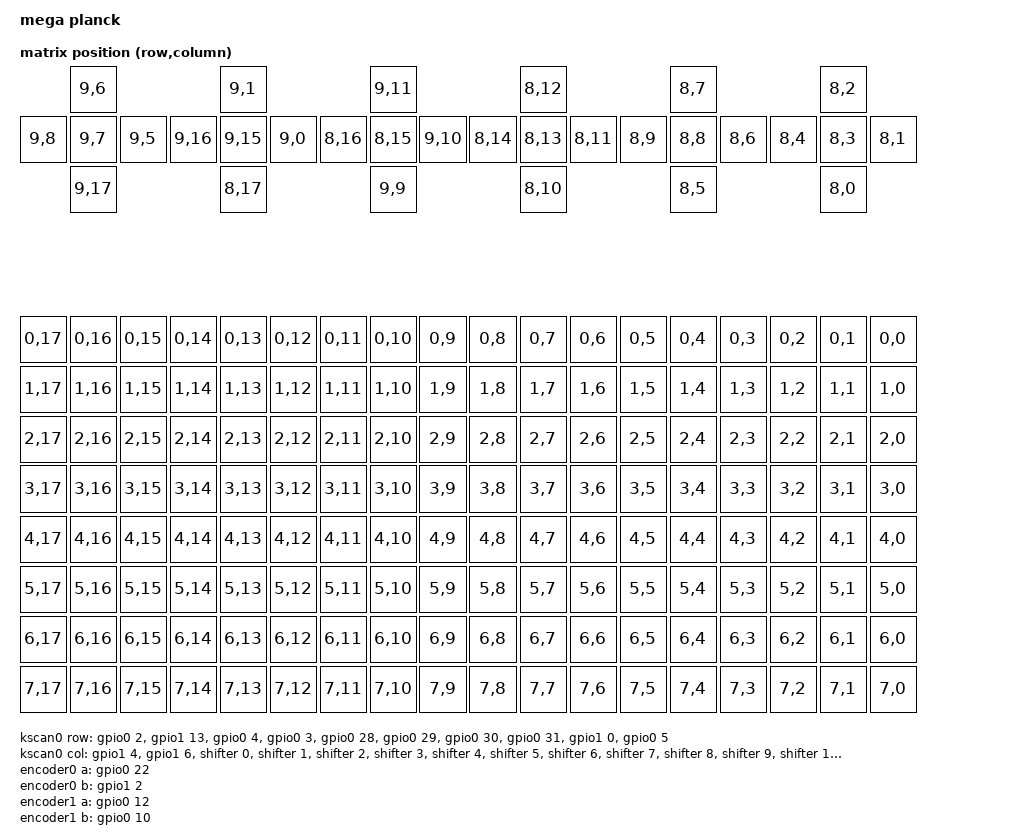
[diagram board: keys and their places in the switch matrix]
/*
 * Copyright (c) 2020 Pete Johanson, Ryan Cross
 *
 * SPDX-License-Identifier: MIT
 */

/dts-v1/;
#include <nordic/nrf52840_qiaa.dtsi>
#include <dt-bindings/gpio/gpio.h>
#include <dt-bindings/zmk/matrix_transform.h>
#include <physical_layouts.dtsi>

&pinctrl {
    spi0_default: spi0_default {
				group1 {
						psels = <NRF_PSEL(SPIM_MOSI, 0, 13)>,
						<NRF_PSEL(SPIM_SCK, 0, 15)>;
				};
		};
	
    spi0_sleep: spi0_sleep {
				group1 {
						psels = <NRF_PSEL(SPIM_MOSI, 0, 13)>,
						 <NRF_PSEL(SPIM_SCK, 0, 15)>;
						low-power-enable;
				};
		};
		qdec5_default: qdec5_default {
        group1 {
            psels = <NRF_PSEL(QDEC_A, 1, 9)>,
                    <NRF_PSEL(QDEC_B, 0, 8)>;
        };
    };
		qdec5_sleep: qdec5_sleep {
        group1 {
            psels = <NRF_PSEL(QDEC_A, 1, 9)>,
                    <NRF_PSEL(QDEC_B, 0, 8)>;
						low-power-enable;
        };
    };
		qdec6_default: qdec6_default {
        group1 {
            psels = <NRF_PSEL(QDEC_A, 0, 6)>,
                    <NRF_PSEL(QDEC_B, 1, 11)>;
        };
    };
};
encoder5: &qdec0 {
		status = "okay";
		led-pre = <0>;
		steps = <80>;
		pinctrl-0 = <&qdec5_default>;
		pinctrl-1 = <&qdec5_sleep>;
		pinctrl-names = "default","sleep";
};

nice_view_spi: &spi0 {
    compatible = "nordic,nrf-spim";
    pinctrl-0 = <&spi0_default>;
    pinctrl-1 = <&spi0_sleep>;
    pinctrl-names = "default", "sleep";
    cs-gpios = <&gpio0 20 GPIO_ACTIVE_HIGH>,<&gpio0 17 GPIO_ACTIVE_LOW>;
    status= "okay";
    shifter: 595@1 {
      compatible = "zmk,gpio-595";
      status="okay";
      reg = <1>;
      gpio-controller;
      spi-max-frequency= <400000>;
      #gpio-cells = <2>;
      ngpios = <16>;
  };
};

/ {
    chosen {
        zmk,physical_layout = &physical_layout;
    };
    default_transform: keymap_transform_0 {
        compatible = "zmk,matrix-transform";
        columns = <18>;
        rows = <10>;
        map = <
          RC(0,0) RC(0,1) RC(0,2) RC(0,3) RC(0,4) RC(0,5) RC(0,6) RC(0,7) RC(0,8) RC(0,9) RC(0,10) RC(0,11) RC(0,12) RC(0,13) RC(0,14) RC(0,15) RC(0,16) RC(0,17)
          RC(1,0) RC(1,1) RC(1,2) RC(1,3) RC(1,4) RC(1,5) RC(1,6) RC(1,7) RC(1,8) RC(1,9) RC(1,10) RC(1,11) RC(1,12) RC(1,13) RC(1,14) RC(1,15) RC(1,16) RC(1,17)
          RC(2,0) RC(2,1) RC(2,2) RC(2,3) RC(2,4) RC(2,5) RC(2,6) RC(2,7) RC(2,8) RC(2,9) RC(2,10) RC(2,11) RC(2,12) RC(2,13) RC(2,14) RC(2,15) RC(2,16) RC(2,17)
          RC(3,0) RC(3,1) RC(3,2) RC(3,3) RC(3,4) RC(3,5) RC(3,6) RC(3,7) RC(3,8) RC(3,9) RC(3,10) RC(3,11) RC(3,12) RC(3,13) RC(3,14) RC(3,15) RC(3,16) RC(3,17)
          RC(4,0) RC(4,1) RC(4,2) RC(4,3) RC(4,4) RC(4,5) RC(4,6) RC(4,7) RC(4,8) RC(4,9) RC(4,10) RC(4,11) RC(4,12) RC(4,13) RC(4,14) RC(4,15) RC(4,16) RC(4,17)
          RC(5,0) RC(5,1) RC(5,2) RC(5,3) RC(5,4) RC(5,5) RC(5,6) RC(5,7) RC(5,8) RC(5,9) RC(5,10) RC(5,11) RC(5,12) RC(5,13) RC(5,14) RC(5,15) RC(5,16) RC(5,17)
          RC(6,0) RC(6,1) RC(6,2) RC(6,3) RC(6,4) RC(6,5) RC(6,6) RC(6,7) RC(6,8) RC(6,9) RC(6,10) RC(6,11) RC(6,12) RC(6,13) RC(6,14) RC(6,15) RC(6,16) RC(6,17)
          RC(7,0) RC(7,1) RC(7,2) RC(7,3) RC(7,4) RC(7,5) RC(7,6) RC(7,7) RC(7,8) RC(7,9) RC(7,10) RC(7,11) RC(7,12) RC(7,13) RC(7,14) RC(7,15) RC(7,16) RC(7,17)
          RC(8,0) RC(8,1) RC(8,2) RC(8,3) RC(8,4) RC(8,5) RC(8,6) RC(8,7) RC(8,8) RC(8,9) RC(8,10) RC(8,11) RC(8,12) RC(8,13) RC(8,14) RC(8,15) RC(8,16) RC(8,17)
          RC(9,0) RC(9,1) RC(9,15) RC(9,16) RC(9,17) RC(9,5) RC(9,6) RC(9,7) RC(9,8) RC(9,9) RC(9,10) RC(9,11)
        >;
    };

    kscan0: kscan {
        compatible = "zmk,kscan-gpio-matrix";
        wakeup-source;

        diode-direction = "col2row";
        col-gpios
            = <&gpio1 4 (GPIO_ACTIVE_HIGH | GPIO_PULL_DOWN)>
            , <&gpio1 6 (GPIO_ACTIVE_HIGH | GPIO_PULL_DOWN)>
            , <&shifter 0 GPIO_ACTIVE_HIGH>
            , <&shifter 1 GPIO_ACTIVE_HIGH>
            , <&shifter 2 GPIO_ACTIVE_HIGH>
            , <&shifter 3 GPIO_ACTIVE_HIGH>
            , <&shifter 4 GPIO_ACTIVE_HIGH>
            , <&shifter 5 GPIO_ACTIVE_HIGH>
            , <&shifter 6 GPIO_ACTIVE_HIGH>
            , <&shifter 7 GPIO_ACTIVE_HIGH>
            , <&shifter 8 GPIO_ACTIVE_HIGH>
            , <&shifter 9 GPIO_ACTIVE_HIGH>
            , <&shifter 10 GPIO_ACTIVE_HIGH>
            , <&shifter 11 GPIO_ACTIVE_HIGH>
            , <&shifter 12 GPIO_ACTIVE_HIGH>
            , <&shifter 13 GPIO_ACTIVE_HIGH>
            , <&shifter 14 GPIO_ACTIVE_HIGH>
            , <&shifter 15 GPIO_ACTIVE_HIGH>
            ;
        row-gpios
            = <&gpio0 2 (GPIO_ACTIVE_HIGH | GPIO_PULL_DOWN)>
            , <&gpio1 13 (GPIO_ACTIVE_HIGH | GPIO_PULL_DOWN)>
            , <&gpio0 4 (GPIO_ACTIVE_HIGH | GPIO_PULL_DOWN)>
            , <&gpio0 3 (GPIO_ACTIVE_HIGH | GPIO_PULL_DOWN)>
            , <&gpio0 28 (GPIO_ACTIVE_HIGH | GPIO_PULL_DOWN)>
            , <&gpio0 29 (GPIO_ACTIVE_HIGH | GPIO_PULL_DOWN)>
            , <&gpio0 30 (GPIO_ACTIVE_HIGH | GPIO_PULL_DOWN)>
            , <&gpio0 31 (GPIO_ACTIVE_HIGH | GPIO_PULL_DOWN)>
            , <&gpio1 0 (GPIO_ACTIVE_HIGH | GPIO_PULL_DOWN)>
            , <&gpio0 5 (GPIO_ACTIVE_HIGH | GPIO_PULL_DOWN)>
            ;
    };
		physical_layout:matirx {
			compatible = "zmk,physical-layout";
			display-name = "matrix layout";
			kscan = <&kscan0>;
			transform = <&default_transform>;
	 keys  //                     w   h    x    y     rot    rx    ry
            = <&key_physical_attrs 100 100 1700  500       0     0     0>
            , <&key_physical_attrs 100 100 1600  500       0     0     0>
            , <&key_physical_attrs 100 100 1500  500       0     0     0>
            , <&key_physical_attrs 100 100 1400  500       0     0     0>
            , <&key_physical_attrs 100 100 1300  500       0     0     0>
            , <&key_physical_attrs 100 100 1200  500       0     0     0>
            , <&key_physical_attrs 100 100 1100  500       0     0     0>
            , <&key_physical_attrs 100 100 1000  500       0     0     0>
            , <&key_physical_attrs 100 100  900  500       0     0     0>
            , <&key_physical_attrs 100 100  800  500       0     0     0>
            , <&key_physical_attrs 100 100  700  500       0     0     0>
            , <&key_physical_attrs 100 100  600  500       0     0     0>
            , <&key_physical_attrs 100 100  500  500       0     0     0>
            , <&key_physical_attrs 100 100  400  500       0     0     0>
            , <&key_physical_attrs 100 100  300  500       0     0     0>
            , <&key_physical_attrs 100 100  200  500       0     0     0>
            , <&key_physical_attrs 100 100  100  500       0     0     0>
            , <&key_physical_attrs 100 100    0  500       0     0     0>
            , <&key_physical_attrs 100 100 1700  600       0     0     0>
            , <&key_physical_attrs 100 100 1600  600       0     0     0>
            , <&key_physical_attrs 100 100 1500  600       0     0     0>
            , <&key_physical_attrs 100 100 1400  600       0     0     0>
            , <&key_physical_attrs 100 100 1300  600       0     0     0>
            , <&key_physical_attrs 100 100 1200  600       0     0     0>
            , <&key_physical_attrs 100 100 1100  600       0     0     0>
            , <&key_physical_attrs 100 100 1000  600       0     0     0>
            , <&key_physical_attrs 100 100  900  600       0     0     0>
            , <&key_physical_attrs 100 100  800  600       0     0     0>
            , <&key_physical_attrs 100 100  700  600       0     0     0>
            , <&key_physical_attrs 100 100  600  600       0     0     0>
            , <&key_physical_attrs 100 100  500  600       0     0     0>
            , <&key_physical_attrs 100 100  400  600       0     0     0>
            , <&key_physical_attrs 100 100  300  600       0     0     0>
            , <&key_physical_attrs 100 100  200  600       0     0     0>
            , <&key_physical_attrs 100 100  100  600       0     0     0>
            , <&key_physical_attrs 100 100    0  600       0     0     0>
            , <&key_physical_attrs 100 100 1700  700       0     0     0>
            , <&key_physical_attrs 100 100 1600  700       0     0     0>
            , <&key_physical_attrs 100 100 1500  700       0     0     0>
            , <&key_physical_attrs 100 100 1400  700       0     0     0>
            , <&key_physical_attrs 100 100 1300  700       0     0     0>
            , <&key_physical_attrs 100 100 1200  700       0     0     0>
            , <&key_physical_attrs 100 100 1100  700       0     0     0>
            , <&key_physical_attrs 100 100 1000  700       0     0     0>
            , <&key_physical_attrs 100 100  900  700       0     0     0>
            , <&key_physical_attrs 100 100  800  700       0     0     0>
            , <&key_physical_attrs 100 100  700  700       0     0     0>
            , <&key_physical_attrs 100 100  600  700       0     0     0>
            , <&key_physical_attrs 100 100  500  700       0     0     0>
            , <&key_physical_attrs 100 100  400  700       0     0     0>
            , <&key_physical_attrs 100 100  300  700       0     0     0>
            , <&key_physical_attrs 100 100  200  700       0     0     0>
            , <&key_physical_attrs 100 100  100  700       0     0     0>
            , <&key_physical_attrs 100 100    0  700       0     0     0>
            , <&key_physical_attrs 100 100 1700  800       0     0     0>
            , <&key_physical_attrs 100 100 1600  800       0     0     0>
            , <&key_physical_attrs 100 100 1500  800       0     0     0>
            , <&key_physical_attrs 100 100 1400  800       0     0     0>
            , <&key_physical_attrs 100 100 1300  800       0     0     0>
            , <&key_physical_attrs 100 100 1200  800       0     0     0>
            , <&key_physical_attrs 100 100 1100  800       0     0     0>
            , <&key_physical_attrs 100 100 1000  800       0     0     0>
            , <&key_physical_attrs 100 100  900  800       0     0     0>
            , <&key_physical_attrs 100 100  800  800       0     0     0>
            , <&key_physical_attrs 100 100  700  800       0     0     0>
            , <&key_physical_attrs 100 100  600  800       0     0     0>
            , <&key_physical_attrs 100 100  500  800       0     0     0>
            , <&key_physical_attrs 100 100  400  800       0     0     0>
            , <&key_physical_attrs 100 100  300  800       0     0     0>
            , <&key_physical_attrs 100 100  200  800       0     0     0>
            , <&key_physical_attrs 100 100  100  800       0     0     0>
            , <&key_physical_attrs 100 100    0  800       0     0     0>
            , <&key_physical_attrs 100 100 1700  900       0     0     0>
            , <&key_physical_attrs 100 100 1600  900       0     0     0>
            , <&key_physical_attrs 100 100 1500  900       0     0     0>
            , <&key_physical_attrs 100 100 1400  900       0     0     0>
            , <&key_physical_attrs 100 100 1300  900       0     0     0>
            , <&key_physical_attrs 100 100 1200  900       0     0     0>
            , <&key_physical_attrs 100 100 1100  900       0     0     0>
            , <&key_physical_attrs 100 100 1000  900       0     0     0>
            , <&key_physical_attrs 100 100  900  900       0     0     0>
            , <&key_physical_attrs 100 100  800  900       0     0     0>
            , <&key_physical_attrs 100 100  700  900       0     0     0>
            , <&key_physical_attrs 100 100  600  900       0     0     0>
            , <&key_physical_attrs 100 100  500  900       0     0     0>
            , <&key_physical_attrs 100 100  400  900       0     0     0>
            , <&key_physical_attrs 100 100  300  900       0     0     0>
            , <&key_physical_attrs 100 100  200  900       0     0     0>
            , <&key_physical_attrs 100 100  100  900       0     0     0>
            , <&key_physical_attrs 100 100    0  900       0     0     0>
            , <&key_physical_attrs 100 100 1700 1000       0     0     0>
            , <&key_physical_attrs 100 100 1600 1000       0     0     0>
            , <&key_physical_attrs 100 100 1500 1000       0     0     0>
            , <&key_physical_attrs 100 100 1400 1000       0     0     0>
            , <&key_physical_attrs 100 100 1300 1000       0     0     0>
            , <&key_physical_attrs 100 100 1200 1000       0     0     0>
            , <&key_physical_attrs 100 100 1100 1000       0     0     0>
            , <&key_physical_attrs 100 100 1000 1000       0     0     0>
            , <&key_physical_attrs 100 100  900 1000       0     0     0>
            , <&key_physical_attrs 100 100  800 1000       0     0     0>
            , <&key_physical_attrs 100 100  700 1000       0     0     0>
            , <&key_physical_attrs 100 100  600 1000       0     0     0>
            , <&key_physical_attrs 100 100  500 1000       0     0     0>
            , <&key_physical_attrs 100 100  400 1000       0     0     0>
            , <&key_physical_attrs 100 100  300 1000       0     0     0>
            , <&key_physical_attrs 100 100  200 1000       0     0     0>
            , <&key_physical_attrs 100 100  100 1000       0     0     0>
            , <&key_physical_attrs 100 100    0 1000       0     0     0>
            , <&key_physical_attrs 100 100 1700 1100       0     0     0>
            , <&key_physical_attrs 100 100 1600 1100       0     0     0>
            , <&key_physical_attrs 100 100 1500 1100       0     0     0>
            , <&key_physical_attrs 100 100 1400 1100       0     0     0>
            , <&key_physical_attrs 100 100 1300 1100       0     0     0>
            , <&key_physical_attrs 100 100 1200 1100       0     0     0>
            , <&key_physical_attrs 100 100 1100 1100       0     0     0>
            , <&key_physical_attrs 100 100 1000 1100       0     0     0>
            , <&key_physical_attrs 100 100  900 1100       0     0     0>
            , <&key_physical_attrs 100 100  800 1100       0     0     0>
            , <&key_physical_attrs 100 100  700 1100       0     0     0>
            , <&key_physical_attrs 100 100  600 1100       0     0     0>
            , <&key_physical_attrs 100 100  500 1100       0     0     0>
            , <&key_physical_attrs 100 100  400 1100       0     0     0>
            , <&key_physical_attrs 100 100  300 1100       0     0     0>
            , <&key_physical_attrs 100 100  200 1100       0     0     0>
            , <&key_physical_attrs 100 100  100 1100       0     0     0>
            , <&key_physical_attrs 100 100    0 1100       0     0     0>
            , <&key_physical_attrs 100 100 1700 1200       0     0     0>
            , <&key_physical_attrs 100 100 1600 1200       0     0     0>
            , <&key_physical_attrs 100 100 1500 1200       0     0     0>
            , <&key_physical_attrs 100 100 1400 1200       0     0     0>
            , <&key_physical_attrs 100 100 1300 1200       0     0     0>
            , <&key_physical_attrs 100 100 1200 1200       0     0     0>
            , <&key_physical_attrs 100 100 1100 1200       0     0     0>
            , <&key_physical_attrs 100 100 1000 1200       0     0     0>
            , <&key_physical_attrs 100 100  900 1200       0     0     0>
            , <&key_physical_attrs 100 100  800 1200       0     0     0>
            , <&key_physical_attrs 100 100  700 1200       0     0     0>
            , <&key_physical_attrs 100 100  600 1200       0     0     0>
            , <&key_physical_attrs 100 100  500 1200       0     0     0>
            , <&key_physical_attrs 100 100  400 1200       0     0     0>
            , <&key_physical_attrs 100 100  300 1200       0     0     0>
            , <&key_physical_attrs 100 100  200 1200       0     0     0>
            , <&key_physical_attrs 100 100  100 1200       0     0     0>
            , <&key_physical_attrs 100 100    0 1200       0     0     0>
            , <&key_physical_attrs 100 100 1600  200       0     0     0>
            , <&key_physical_attrs 100 100 1700  100       0     0     0>
            , <&key_physical_attrs 100 100 1600    0       0     0     0>
            , <&key_physical_attrs 100 100 1600  100       0     0     0>
            , <&key_physical_attrs 100 100 1500  100       0     0     0>
            , <&key_physical_attrs 100 100 1300  200       0     0     0>
            , <&key_physical_attrs 100 100 1400  100       0     0     0>
            , <&key_physical_attrs 100 100 1300    0       0     0     0>
            , <&key_physical_attrs 100 100 1300  100       0     0     0>
            , <&key_physical_attrs 100 100 1200  100       0     0     0>
            , <&key_physical_attrs 100 100 1000  200       0     0     0>
            , <&key_physical_attrs 100 100 1100  100       0     0     0>
            , <&key_physical_attrs 100 100 1000    0       0     0     0>
            , <&key_physical_attrs 100 100 1000  100       0     0     0>
            , <&key_physical_attrs 100 100  900  100       0     0     0>
            , <&key_physical_attrs 100 100  700  100       0     0     0>
            , <&key_physical_attrs 100 100  600  100       0     0     0>
            , <&key_physical_attrs 100 100  400  200       0     0     0>
            , <&key_physical_attrs 100 100  500  100       0     0     0>
            , <&key_physical_attrs 100 100  400    0       0     0     0>
            , <&key_physical_attrs 100 100  400  100       0     0     0>
            , <&key_physical_attrs 100 100  300  100       0     0     0>
            , <&key_physical_attrs 100 100  100  200       0     0     0>
            , <&key_physical_attrs 100 100  200  100       0     0     0>
            , <&key_physical_attrs 100 100  100    0       0     0     0>
            , <&key_physical_attrs 100 100  100  100       0     0     0>
            , <&key_physical_attrs 100 100    0  100       0     0     0>
            , <&key_physical_attrs 100 100  700  200       0     0     0>
            , <&key_physical_attrs 100 100  800  100       0     0     0>
            , <&key_physical_attrs 100 100  700    0       0     0     0>
            ;
		};
    encoder0: encoder0 {
        compatible = "alps,ec11";
        a-gpios = <&gpio0 22 (GPIO_ACTIVE_HIGH | GPIO_OPEN_DRAIN)>;
        b-gpios = <&gpio1 2 (GPIO_ACTIVE_HIGH | GPIO_OPEN_DRAIN)>;
        steps = <15>;
        status = "okay";
    };
    encoder1: encoder1 {
        compatible = "alps,ec11";
        a-gpios = <&gpio0 12 (GPIO_ACTIVE_HIGH | GPIO_OPEN_DRAIN)>;
        b-gpios = <&gpio0 10 (GPIO_ACTIVE_HIGH | GPIO_OPEN_DRAIN)>;
        steps = <15>;
        status = "okay";
    };
    encoder2: encoder2 {
        compatible = "alps,ec11";
        a-gpios = <&gpio0 26 (GPIO_ACTIVE_HIGH | GPIO_OPEN_DRAIN)>;
        b-gpios = <&gpio0 9 (GPIO_ACTIVE_HIGH | GPIO_OPEN_DRAIN)>;
        steps = <15>;
        status = "okay";
    };
    encoder3: encoder3 {
        compatible = "alps,ec11";
        a-gpios = <&gpio0 7 (GPIO_ACTIVE_HIGH |GPIO_OPEN_DRAIN)>;
        b-gpios = <&gpio0 24 (GPIO_ACTIVE_HIGH |GPIO_OPEN_DRAIN)>;
        steps = <15>;
        status = "okay";
    };
    encoder4: encoder4 {
        compatible = "alps,ec11";
        a-gpios = <&gpio1 9 (GPIO_ACTIVE_HIGH | GPIO_OPEN_DRAIN )>;
        b-gpios = <&gpio0 8 (GPIO_ACTIVE_HIGH | GPIO_OPEN_DRAIN )>;
        steps = <15>;
        status = "okay";
    };
    // encoder5: encoder5 {
    //     compatible = "alps,ec11";
    //     a-gpios = <&gpio0 6 (GPIO_ACTIVE_HIGH | GPIO_OPEN_DRAIN )>;
    //     b-gpios = <&gpio1 11 (GPIO_ACTIVE_HIGH |GPIO_OPEN_DRAIN )>;
    //     steps = <15>;
    //     status = "okay";
    // };
    sensors: sensors {
        compatible = "zmk,keymap-sensors";
        sensors = <&encoder0 &encoder1 &encoder2 &encoder3 &encoder4 &encoder5>;
        triggers-per-rotation = <80>;
    };
};

/ {
    model = "mega planck";
    compatible = "yangxing,144";

    chosen {
        zephyr,code-partition = &code_partition;
        zephyr,sram = &sram0;
        zephyr,flash = &flash0;
        zmk,battery = &vbatt;
    };

    leds {
        compatible = "gpio-leds";
        blue_led: led_0 {
            gpios = <&gpio1 10 GPIO_ACTIVE_HIGH>;
        };
    };


  vbatt: vbatt {
        compatible = "zmk,battery-nrf-vddh";
    };
};


&adc {
    status = "okay";
};

&gpiote {
    status = "okay";
};

&gpio0 {
    status = "okay";
};

&gpio1 {
    status = "okay";
};



zephyr_udc0:&usbd {
		status = "okay";
};

&flash0 {
    /*
     * For more information, see:
     * http://docs.zephyrproject.org/latest/devices/dts/flash_partitions.html
     */
    partitions {
        compatible = "fixed-partitions";
        #address-cells = <1>;
        #size-cells = <1>;

        sd_partition: partition@0 {
            reg = <0x00000000 0x00026000>;
        };
        code_partition: partition@26000 {
            reg = <0x00026000 0x000c6000>;
        };

        /*
         * The flash starting at 0x000ec000 and ending at
         * 0x000f3fff is reserved for use by the application.
         */

        /*
         * Storage partition will be used by FCB/LittleFS/NVS
         * if enabled.
         */
        storage_partition: partition@ec000 {
            reg = <0x000ec000 0x00008000>;
        };

        boot_partition: partition@f4000 {
            reg = <0x000f4000 0x0000c000>;
        };
    };
};
